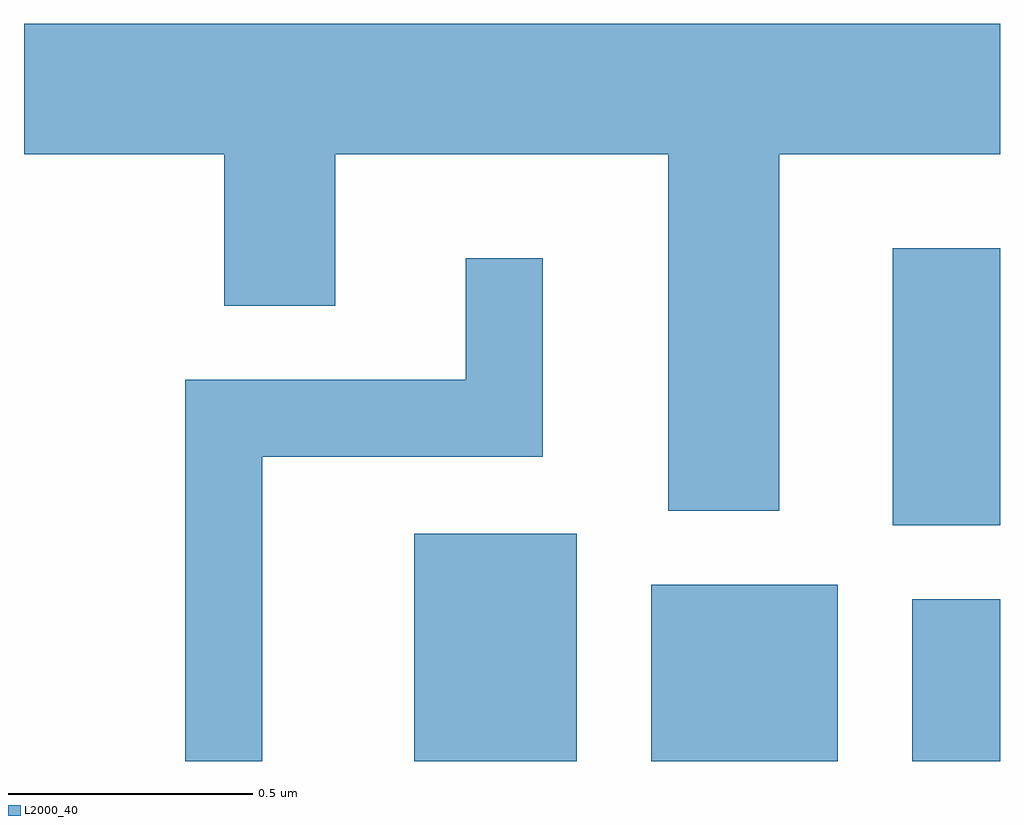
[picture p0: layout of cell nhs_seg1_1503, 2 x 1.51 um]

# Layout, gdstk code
import gdstk
lib = gdstk.Library(unit=1e-6, precision=1e-09)
def R(c, l, rs):  # rectangles x0, y0, x1, y1
    for r in rs: c.add(gdstk.rectangle(r[:2], r[2:], *l))
def P(c, l, *ps):  # polygons
    for p in ps: c.add(gdstk.Polygon(p, *l))
L2000_40 = (2000, 40)

nhs_seg1_1503 = lib.new_cell('nhs_seg1_1503')
R(nhs_seg1_1503, L2000_40, [(197.411,851.712,197.744,852.179), (197.896,851.712,198.279,852.074), (198.431,851.712,198.611,852.044), (198.391,852.196,198.611,852.764)])
P(nhs_seg1_1503, L2000_40, [(198.159,852.956),(198.611,852.956),(198.611,853.224),(196.611,853.224),(196.611,852.956),(197.021,852.956),(197.021,852.646),(197.249,852.646),(197.249,852.956),(197.931,852.956),(197.931,852.226),(198.159,852.226)],
  [(197.099,852.336),(197.674,852.336),(197.674,852.743),(197.516,852.743),(197.516,852.494),(196.941,852.494),(196.941,851.712),(197.099,851.712)])

lib.write_gds('nhs_seg1_1503.gds')
